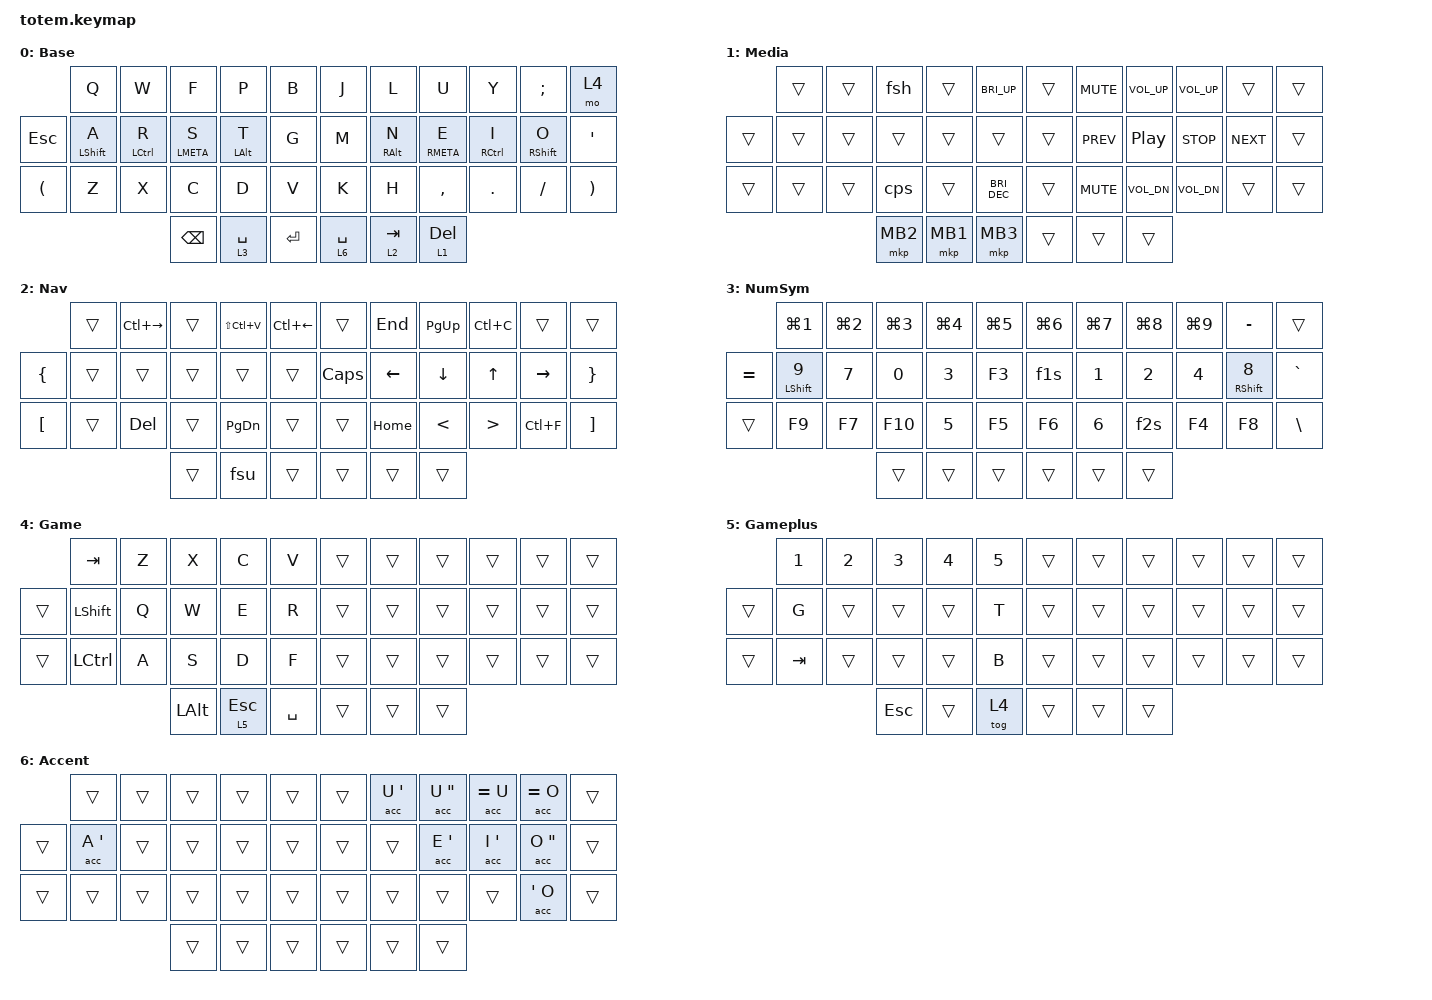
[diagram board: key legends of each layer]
//
//                                                        ▀▀▀▀▀     ▀▀▀▀▀          ▀▀█▀▀
//                                                        ▄▀▀▀▄  ▄  ▄▀▀▀▄  ▄  ▄▀▀▀▄  █  ▄▀▀▀▄
//                                                        █   █  █  █   █  █  █   █  █  █   █
//                                                         ▀▀▀   █   ▀▀▀   █   ▀▀▀   ▀   ▀▀▀
//                                                               █      ▄▄▄█▄▄▄    █   █
//                                                               ▀      █  █  █     █▄█
//                                                             ▀▀▀▀▀    █  █  █      ▀
//                                                                      ▀  ▀  ▀
//
// ▄▄▄▄▄▄▄▄▄▄▄▄▄▄▄▄▄▄▄▄▄▄▄▄▄▄▄▄▄▄▄▄▄▄▄▄▄▄▄▄▄▄▄▄▄▄▄▄▄▄▄▄▄▄▄▄▄▄▄▄▄▄▄▄▄▄▄▄▄▄▄▄▄▄▄▄▄▄▄▄▄▄▄▄▄▄▄▄▄▄▄▄▄▄▄▄▄▄▄▄▄▄▄▄▄▄▄▄▄▄▄▄▄▄▄▄▄▄▄▄▄▄▄▄▄▄▄▄▄▄▄▄▄▄▄▄▄▄▄▄▄▄▄▄▄▄▄▄▄

#include <behaviors.dtsi>
#include <dt-bindings/zmk/keys.h>
#include <dt-bindings/zmk/keys.h>

#define ZMK_POINTING_DEFAULT_MOVE_VAL 1500 
#define ZMK_POINTING_DEFAULT_SCRL_VAL 20 

#include <dt-bindings/zmk/pointing.h>

#define Base        0
#define Media       1
#define Nav         2
#define NumSym      3
#define Game        4
#define Gameplus    5
#define Accent      6

&mt {
    quick-tap-ms = <100>;
    global-quick-tap;
    flavor = "tap-preferred";
    tapping-term-ms = <170>;
};

&lt {
    tapping-term-ms = <240>;
    flavor = "balanced";
    quick-tap-ms = <150>;
};

&mmv {
    x-input-code = <INPUT_REL_X>;
    y-input-code = <INPUT_REL_Y>;
    time-to-max-speed-ms = <500>;
    acceleration-exponent = <2>;
};

&msc {
    x-input-code = <INPUT_REL_HWHEEL>;
    y-input-code = <INPUT_REL_WHEEL>;
    time-to-max-speed-ms = <300>;
    acceleration-exponent = <0.5>;
};

/ {
    behaviors {
        hm: homerow_mods {
            compatible = "zmk,behavior-hold-tap";
            label = "HOMEROW_MODS";
            #binding-cells = <2>;
            flavor = "balanced";
            tapping-term-ms = <150>;
            global-quick-tap;
            bindings = <&kp>, <&kp>;
        };

        fsu: flip_shift_underscore {
            compatible = "zmk,behavior-mod-morph";
            label = "FLIP_SHIFT_UNDERSCORE";
            bindings = <&kp UNDER>, <&kp MINUS>;

            #binding-cells = <0>;
            mods = <(MOD_LSFT|MOD_RSFT)>;
        };

        f1s: f1or11 {
            compatible = "zmk,behavior-mod-morph";
            label = "F1OR11";
            bindings = <&kp F1>, <&kp F11>;

            #binding-cells = <0>;
            mods = <(MOD_LSFT|MOD_RSFT)>;
        };

        f2s: f2_or_f12 {
            compatible = "zmk,behavior-mod-morph";
            label = "F2_OR_F12";
            bindings = <&kp F2>, <&kp F12>;

            #binding-cells = <0>;
            mods = <(MOD_LSFT|MOD_RSFT)>;
        };

        sqns: single_quote_no_shift {
            compatible = "zmk,behavior-mod-morph";
            label = "SINGLE_QUOTE_NO_SHIFT";
            bindings = <&kp SQT>, <&kp SQT>;

            #binding-cells = <0>;
            mods = <(MOD_LSFT|MOD_RSFT)>;
        };

        dqns: double_quote_no_shift {
            compatible = "zmk,behavior-mod-morph";
            label = "DOUBLE_QUOTE_NO_SHIFT";
            bindings = <&kp DQT>, <&kp DQT>;

            #binding-cells = <0>;
            mods = <(MOD_LSFT|MOD_RSFT)>;
        };

        eqns: equal_no_shift {
            compatible = "zmk,behavior-mod-morph";
            label = "EQUAL_NO_SHIFT";
            bindings = <&kp EQUAL>, <&kp EQUAL>;

            #binding-cells = <0>;
            mods = <(MOD_LSFT|MOD_RSFT)>;
        };
    };

    combos {
        compatible = "zmk,combos";

        combo_capsword {
            bindings = <&caps_word>;
            key-positions = <12 21>;
            timeout-ms = <30>;
            require-prior-idle-ms = <50>;
            layers = <0>;
        };
    };

    macros {
        cps: copy_shot {
            compatible = "zmk,behavior-macro";
            #binding-cells = <0>;
            bindings = <&kp LG(R) &kp C>;
            label = "COPY_SHOT";
        };

        fsh: full_screen_shot {
            compatible = "zmk,behavior-macro";
            #binding-cells = <0>;
            bindings = <&kp LG(R) &kp F>;
            label = "FULL_SCREEN_SHOT";
        };

        acc: accent {
            compatible = "zmk,behavior-macro-two-param";
            #binding-cells = <2>;
            bindings =
                <&macro_press &kp RALT>,
                <&macro_param_1to1>,
                <&macro_tap &kp MACRO_PLACEHOLDER>,
                <&macro_param_2to1>,
                <&macro_tap &kp MACRO_PLACEHOLDER>,
                <&macro_release &kp RALT>;
        };
    };

    keymap {
        compatible = "zmk,keymap";

        Base {
            label = "Base";
            bindings = <
            &kp Q        &kp W        &kp F          &kp P        &kp B        &kp J        &kp L       &kp U         &kp Y        &kp SEMI     &mo 4
&kp ESCAPE  &hm LSHFT A  &hm LCTRL R  &hm LMETA S    &hm LALT T   &kp G        &kp M        &hm RALT N  &hm RMETA E   &hm RCTRL I  &hm RSHFT O  &kp APOS
&kp LPAR    &kp Z        &kp X        &kp C          &kp D        &kp V        &kp K        &kp H       &kp COMMA     &kp DOT      &kp SLASH    &kp RPAR
                                      &kp BACKSPACE  &lt 3 SPACE  &kp ENTER    &lt 6 SPACE  &lt 2 TAB   &lt 1 DELETE
            >;
        };

        Media {
            label = "Media";
            bindings = <
        &trans  &trans  &fsh      &trans    &kp C_BRI_UP     &trans  &kp C_MUTE  &kp C_VOL_UP  &kp C_VOL_UP  &trans      &trans
&trans  &trans  &trans  &trans    &trans    &trans           &trans  &kp C_PREV  &kp C_PP      &kp C_STOP    &kp C_NEXT  &trans
&trans  &trans  &trans  &cps      &trans    &kp C_BRI_DEC    &trans  &kp C_MUTE  &kp C_VOL_DN  &kp C_VOL_DN  &trans      &trans
                        &mkp MB2  &mkp MB1  &mkp MB3         &trans  &trans      &trans
            >;
        };

        Nav {
            label = "Nav";
            bindings = <
          &trans  &kp LC(RIGHT)  &trans  &kp LS(LC(V))  &kp LC(LEFT)    &trans    &kp END   &kp PG_UP  &kp LC(C)  &trans     &trans
&kp LBRC  &trans  &trans         &trans  &trans         &trans          &kp CAPS  &kp LEFT  &kp DOWN   &kp UP     &kp RIGHT  &kp RIGHT_BRACE
&kp LBKT  &trans  &kp DEL        &trans  &kp PG_DN      &trans          &trans    &kp HOME  &kp LT     &kp GT     &kp LC(F)  &kp RBKT
                                 &trans  &fsu           &trans          &trans    &trans    &trans
            >;
        };

        NumSym {
            label = "NumSym";
            bindings = <
           &kp LG(N1)    &kp LG(N2)  &kp LG(N3)  &kp LG(N4)  &kp LG(N5)    &kp LG(N6)  &kp LG(N7)  &kp LG(N8)  &kp LG(N9)  &kp MINUS     &trans
&kp EQUAL  &hm LSHFT N9  &kp N7      &kp N0      &kp N3      &kp F3        &f1s        &kp N1      &kp N2      &kp N4      &hm RSHFT N8  &kp GRAVE
&trans     &kp F9        &kp F7      &kp F10     &kp N5      &kp F5        &kp F6      &kp N6      &f2s        &kp F4      &kp F8        &kp BSLH
                                     &trans      &trans      &trans        &trans      &trans      &trans
            >;
        };

        Game {
            label = "Game";
            bindings = <
        &kp TAB         &kp Z  &kp X     &kp C         &kp V        &trans  &trans  &trans  &trans  &trans  &trans
&trans  &kp LEFT_SHIFT  &kp Q  &kp W     &kp E         &kp R        &trans  &trans  &trans  &trans  &trans  &trans
&trans  &kp LCTRL       &kp A  &kp S     &kp D         &kp F        &trans  &trans  &trans  &trans  &trans  &trans
                               &kp LALT  &lt 5 ESCAPE  &kp SPACE    &trans  &trans  &trans
            >;
        };

        Gameplus {
            label = "Gameplus";
            bindings = <
        &kp NUMBER_1  &kp NUMBER_2  &kp NUMBER_3  &kp NUMBER_4  &kp NUMBER_5    &trans  &trans  &trans  &trans  &trans  &trans
&trans  &kp G         &trans        &trans        &trans        &kp T           &trans  &trans  &trans  &trans  &trans  &trans
&trans  &kp TAB       &trans        &trans        &trans        &kp B           &trans  &trans  &trans  &trans  &trans  &trans
                                    &kp ESCAPE    &trans        &tog 4          &trans  &trans  &trans
            >;
        };

        Accent {
            bindings = <
        &trans      &trans  &trans  &trans  &trans    &trans  &acc U SQT  &acc U DQT  &acc EQUAL U  &acc EQUAL O  &trans
&trans  &acc A SQT  &trans  &trans  &trans  &trans    &trans  &trans      &acc E SQT  &acc I SQT    &acc O DQT    &trans
&trans  &trans      &trans  &trans  &trans  &trans    &trans  &trans      &trans      &trans        &acc SQT O    &trans
                            &trans  &trans  &trans    &trans  &trans      &trans
            >;
        };
    };
};
